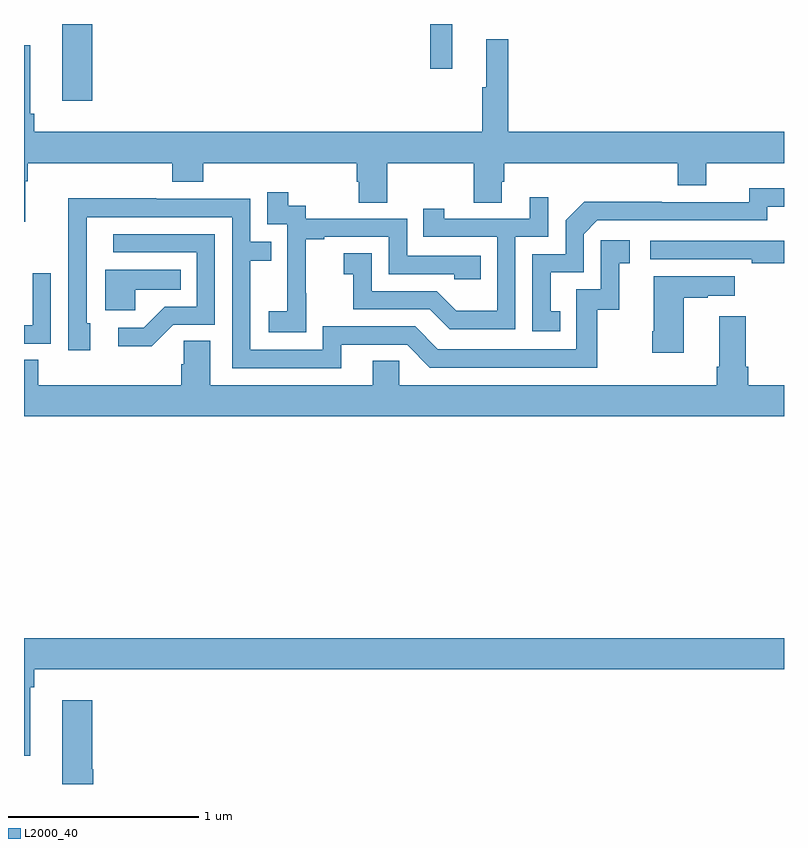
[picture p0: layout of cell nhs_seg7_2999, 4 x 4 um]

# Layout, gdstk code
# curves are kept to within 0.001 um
import gdstk
lib = gdstk.Library(unit=1e-6, precision=1e-09)
def R(c, l, rs):  # rectangles x0, y0, x1, y1
    for r in rs: c.add(gdstk.rectangle(r[:2], r[2:], *l))
def P(c, l, *ps):  # polygons
    for p in ps: c.add(gdstk.Polygon(p, *l))
L2000_40 = (2000, 40)

nhs_seg7_2999 = lib.new_cell('nhs_seg7_2999')
R(nhs_seg7_2999, L2000_40, [(303.2,1015.596,303.359,1016), (305.137,1015.764,305.255,1016)])
P(nhs_seg7_2999, L2000_40, [(303.007,1015.172),(303.02,1015.172),(303.02,1015.268),(303.779,1015.268),(303.779,1015.169),(303.944,1015.169),(303.944,1015.268),(304.751,1015.268),(304.751,1015.17),(304.763,1015.17),(304.763,1015.06),(304.911,1015.06),(304.911,1015.268),(305.368,1015.268),(305.368,1015.06),(305.515,1015.06),(305.515,1015.17),(305.528,1015.17),(305.528,1015.268),(306.44,1015.268),(306.44,1015.151),(306.592,1015.151),(306.592,1015.268),(307,1015.268),(307,1015.432),(305.549,1015.432),(305.549,1015.921),(305.432,1015.921),(305.432,1015.668),(305.413,1015.668),(305.413,1015.432),(303.053,1015.432),(303.053,1015.528),(303.034,1015.528),(303.034,1015.888),(303,1015.888),(303,1014.959),(303.007,1014.959)],
  [(305.822,1014.489),(305.773,1014.489),(305.773,1014.693),(305.946,1014.693),(305.946,1014.894),(306.018,1014.966),(306.912,1014.966),(306.912,1015.038),(307,1015.038),(307,1015.135),(306.816,1015.135),(306.816,1015.062),(306.356,1015.062),(306.356,1015.064),(305.948,1015.064),(305.85,1014.966),(305.85,1014.789),(305.676,1014.789),(305.676,1014.384),(305.822,1014.384)],
  [(304.485,1014.583),(304.484,1014.583),(304.484,1014.867),(304.579,1014.867),(304.579,1014.879),(304.92,1014.879),(304.92,1014.684),(305.265,1014.684),(305.265,1014.657),(305.405,1014.657),(305.405,1014.78),(305.016,1014.78),(305.016,1014.975),(304.482,1014.975),(304.482,1015.044),(304.39,1015.044),(304.39,1015.114),(304.281,1015.114),(304.281,1014.945),(304.386,1014.945),(304.386,1014.716),(304.385,1014.716),(304.385,1014.487),(304.287,1014.487),(304.287,1014.377),(304.485,1014.377)],
  [(305.586,1014.879),(305.76,1014.879),(305.76,1015.087),(305.663,1015.087),(305.663,1014.975),(305.212,1014.975),(305.212,1015.027),(305.101,1015.027),(305.101,1014.879),(305.49,1014.879),(305.49,1014.49),(305.276,1014.49),(305.172,1014.594),(304.83,1014.594),(304.83,1014.793),(304.683,1014.793),(304.683,1014.683),(304.732,1014.683),(304.732,1014.498),(305.135,1014.498),(305.24,1014.393),(305.586,1014.393)],
  [(304.669,1014.312),(305.016,1014.312),(305.136,1014.192),(306.016,1014.192),(306.016,1014.495),(306.134,1014.495),(306.134,1014.741),(306.187,1014.741),(306.187,1014.862),(306.036,1014.862),(306.036,1014.603),(305.907,1014.603),(305.907,1014.288),(305.178,1014.288),(305.058,1014.408),(304.572,1014.408),(304.572,1014.285),(304.191,1014.285),(304.191,1014.754),(304.301,1014.754),(304.301,1014.855),(304.191,1014.855),(304.191,1015.08),(303.695,1015.08),(303.695,1015.082),(303.232,1015.082),(303.232,1014.775),(303.234,1014.775),(303.234,1014.282),(303.349,1014.282),(303.349,1014.426),(303.33,1014.426),(303.331,1014.984),(304.095,1014.984),(304.095,1014.189),(304.669,1014.189)],
  [(303.786,1014.417),(304.005,1014.417),(304.005,1014.894),(303.471,1014.894),(303.471,1014.798),(303.909,1014.798),(303.909,1014.513),(303.74,1014.513),(303.629,1014.402),(303.495,1014.402),(303.495,1014.305),(303.673,1014.305)],
  [(307,1014.858),(306.297,1014.858),(306.297,1014.762),(306.829,1014.762),(306.829,1014.742),(307,1014.742)],
  [(303.585,1014.602),(303.824,1014.602),(303.824,1014.706),(303.428,1014.706),(303.428,1014.494),(303.585,1014.494)],
  [(303.141,1014.688),(303.045,1014.688),(303.045,1014.414),(303,1014.414),(303,1014.318),(303.141,1014.318)],
  [(306.472,1014.559),(306.599,1014.559),(306.599,1014.569),(306.742,1014.569),(306.742,1014.673),(306.314,1014.673),(306.314,1014.382),(306.307,1014.382),(306.307,1014.27),(306.472,1014.27)],
  [(303.84,1014.332),(303.84,1014.209),(303.827,1014.209),(303.827,1014.1),(303.074,1014.1),(303.074,1014.233),(303,1014.233),(303,1013.936),(307,1013.936),(307,1014.1),(306.812,1014.1),(306.812,1014.196),(306.799,1014.196),(306.799,1014.463),(306.659,1014.463),(306.659,1014.196),(306.647,1014.196),(306.647,1014.1),(304.974,1014.1),(304.974,1014.227),(304.835,1014.227),(304.835,1014.1),(303.979,1014.1),(303.979,1014.332)],
  [(303.034,1012.508),(303.053,1012.508),(303.053,1012.604),(307,1012.604),(307,1012.768),(303,1012.768),(303,1012.149),(303.034,1012.149)],
  [(303.364,1012.077),(303.359,1012.077),(303.359,1012.441),(303.2,1012.441),(303.2,1012),(303.364,1012)])

lib.write_gds('nhs_seg7_2999.gds')
